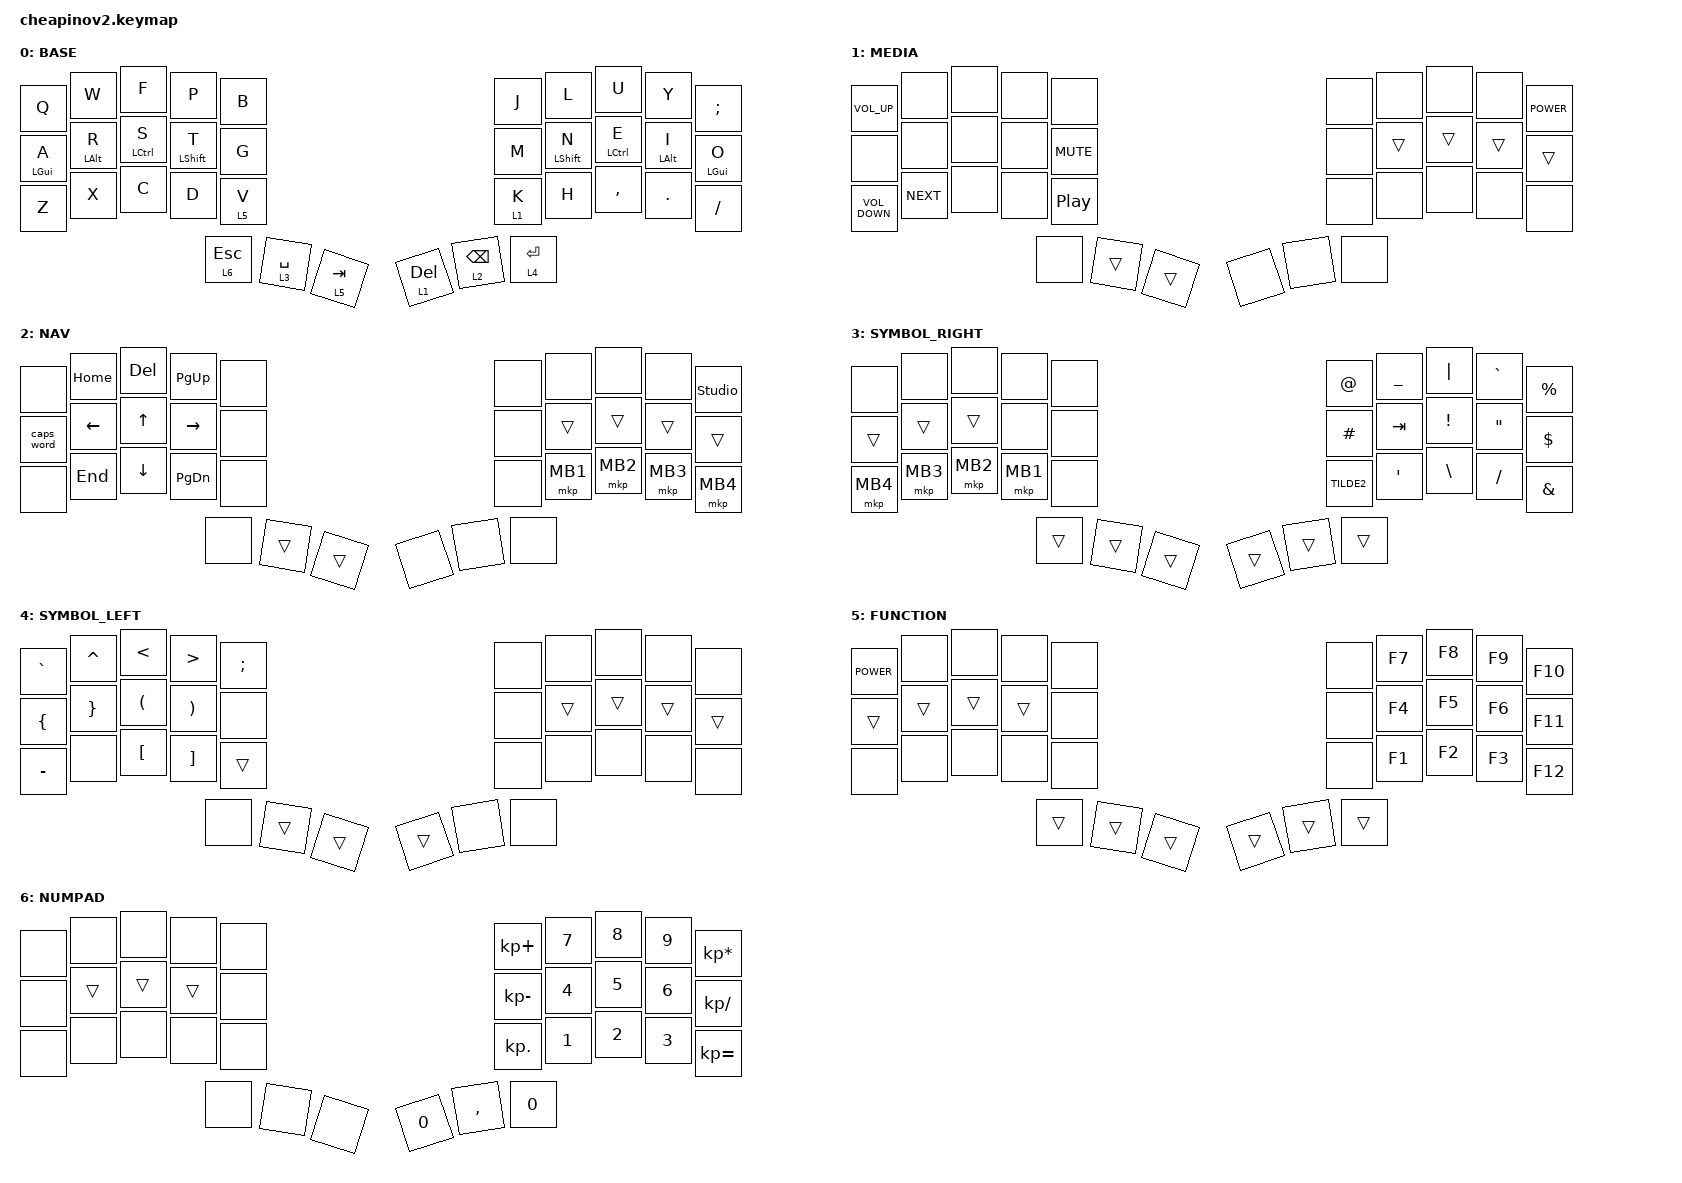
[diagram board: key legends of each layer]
//     ___ _                      _
//    / __\ |___  ___  __ _ _ __ (_)_ ___  ____
//   / /  | '_  \/ _ \/ _` | '_ \| | '_  \/ _  \
//  / /___| | | |  __/ (_| | |_) | | | | | (_) |
//  \____/|_| |_|\___|\__,_| .__/|_|_| |_|\___/
//                         |_|

#include <behaviors.dtsi>
#include <dt-bindings/zmk/keys.h>
#include <dt-bindings/zmk/bt.h>
#include <dt-bindings/zmk/mouse.h>

#define BASE 0
#define MEDIA  1
#define SYM  2
#define ADJ  3

&mt {
  quick-tap-ms = <150>;
  global-quick-tap;
  flavor = "tap-preferred";
  tapping-term-ms = <250>;
  require-prior-idle-ms = <150>;
  hold-trigger-on-release;
};

&caps_word {
    continue-list = <UNDERSCORE MINUS BACKSPACE>;
};

/ {
        keymap {
                compatible = "zmk,keymap";
        BASE {
          bindings = <
          &kp Q &kp W &kp F &kp P &kp B &kp J &kp L &kp U &kp Y &kp SEMICOLON
          &mt LEFT_GUI A &mt LEFT_ALT R &mt LEFT_CONTROL S &mt LEFT_SHIFT T &kp G &kp M &mt LEFT_SHIFT N &mt LEFT_CONTROL E &mt LEFT_ALT I &mt LEFT_GUI O
          &kp Z &kp X &kp C &kp D &lt 5 V &lt 1 K &kp H &kp COMMA &kp DOT &kp SLASH
          &lt 6 ESCAPE &lt 3 SPACE &lt 5 TAB &lt 1 DELETE &lt 2 BACKSPACE &lt 4 ENTER
          >;
        };
        MEDIA {
          bindings = <
          &kp C_VOLUME_UP &none &none &none &none &none &none &none &none &kp C_POWER 
          &none &none &none &none &kp C_MUTE &none &trans &trans &trans &trans 
          &kp C_VOLUME_DOWN &kp C_NEXT &none &none &kp C_PLAY_PAUSE &none &none &none &none &none 
              &none &trans &trans &none &none &none
          >;
        };
        NAV {
          bindings = <
          &none &kp HOME &kp DELETE &kp PAGE_UP &none &none &none &none &none &studio_unlock
          &caps_word &kp LEFT &kp UP &kp RIGHT &none &none &trans &trans &trans &trans 
          &none &kp END &kp DOWN &kp PAGE_DOWN &none &none &mkp MB1 &mkp MB2 &mkp MB3 &mkp MB4
              &none &trans &trans &none &none &none
          >;
        };
        SYMBOL_RIGHT {
          bindings = <
          &none &none &none &none &none                 &kp AT &kp UNDERSCORE &kp PIPE &kp GRAVE &kp PERCENT
          &trans &trans &trans &none &none              &kp HASH &kp TAB &kp EXCLAMATION &kp DOUBLE_QUOTES &kp DOLLAR
          &mkp MB4 &mkp MB3 &mkp MB2 &mkp MB1 &none     &kp TILDE2 &kp SINGLE_QUOTE &kp BACKSLASH &kp SLASH &kp AMPERSAND
              &trans &trans &trans &trans &trans &trans
          >;
        };
        SYMBOL_LEFT {
          bindings = <
          &kp GRAVE &kp CARET &kp LESS_THAN &kp GREATER_THAN &kp SEMICOLON              &none &none &none &none &none 
          &kp LEFT_BRACE &kp RIGHT_BRACE &kp LEFT_PARENTHESIS &kp RIGHT_PARENTHESIS &none &none &trans &trans &trans &trans 
          &kp MINUS &none &kp LEFT_BRACKET &kp RIGHT_BRACKET &trans                     &none &none &none &none &none 
                                                    &none &trans &trans &trans &none &none
          >;
        };
        FUNCTION {
          bindings = <
          &kp C_POWER &none &none &none &none &none &kp F7 &kp F8 &kp F9 &kp F10 
          &trans &trans &trans &trans &none &none &kp F4 &kp F5 &kp F6 &kp F11 
          &none &none &none &none &none &none &kp F1 &kp F2 &kp F3 &kp F12 
              &trans &trans &trans &trans &trans &trans
          >;
        };
        NUMPAD {
          bindings = <
          &none &none &none &none &none &kp KP_PLUS &kp N7 &kp N8 &kp N9 &kp KP_ASTERISK 
          &none &trans &trans &trans &none &kp KP_MINUS &kp N4 &kp N5 &kp N6 &kp KP_SLASH 
          &none &none &none &none &none &kp KP_DOT &kp N1 &kp N2 &kp N3 &kp KP_EQUAL 
             &none &none &none &kp N0 &kp COMMA &kp N0
          >;
        };
    };
};
